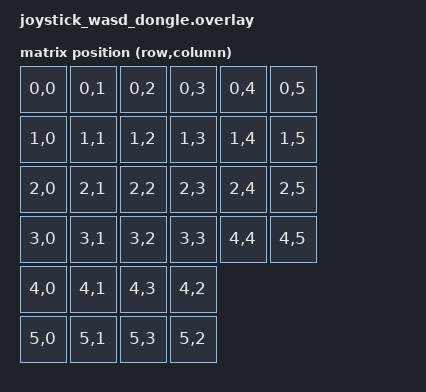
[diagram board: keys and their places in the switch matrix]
#include <dt-bindings/zmk/matrix_transform.h>
#include "joystick_wasd-layouts.dtsi"

/ {
    chosen {
        zmk,kscan = &mock_kscan;
        zmk,physical-layout = &physical_layout0;
    };

    mock_kscan: mock_kscan_0 {
        compatible = "zmk,kscan-mock";
        columns = <0>;
        rows    = <0>;
        events  = <0>;
    };

    default_transform: matrix_transform0 {
        compatible = "zmk,matrix-transform";
        rows    = <6>;
        columns = <6>;
        map = <
            RC(0,0)  RC(0,1)  RC(0,2)  RC(0,3)  RC(0,4)  RC(0,5)
            RC(1,0)  RC(1,1)  RC(1,2)  RC(1,3)  RC(1,4)  RC(1,5)
            RC(2,0)  RC(2,1)  RC(2,2)  RC(2,3)  RC(2,4)  RC(2,5)
            RC(3,0)  RC(3,1)  RC(3,2)  RC(3,3)  RC(4,4)  RC(4,5)
            RC(4,0)  RC(4,1)  RC(4,3)  RC(4,2)
            RC(5,0)  RC(5,1)  RC(5,3)  RC(5,2)
        >;
    };
};

&physical_layout0 {
    transform = <&default_transform>;
};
